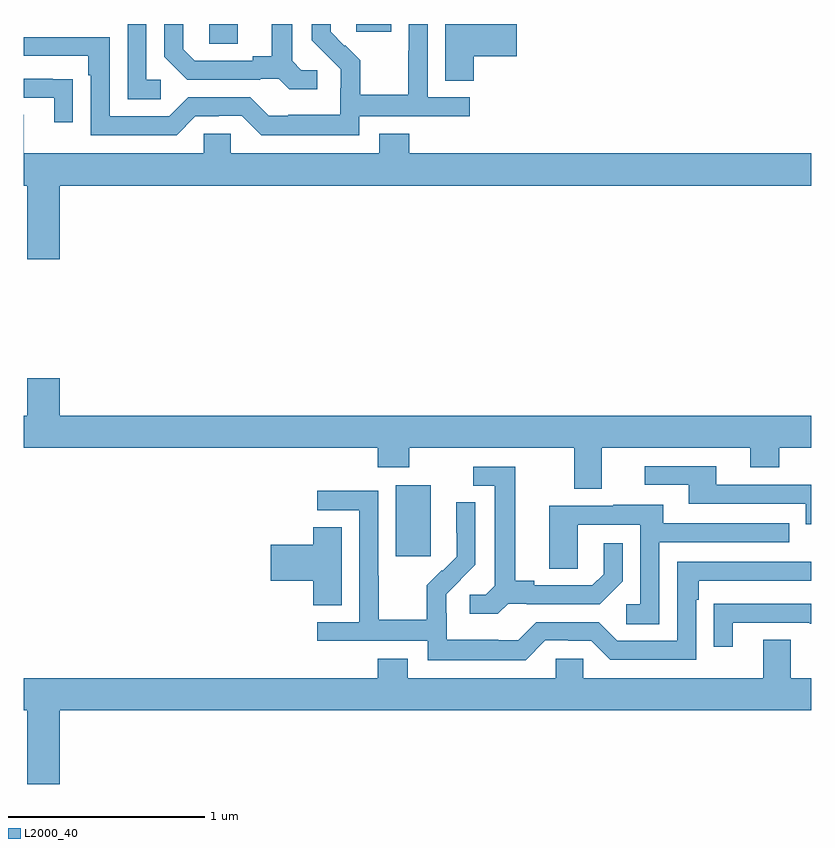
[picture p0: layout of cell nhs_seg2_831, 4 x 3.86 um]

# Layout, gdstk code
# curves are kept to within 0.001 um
import gdstk
lib = gdstk.Library(unit=1e-6, precision=1e-09)
def R(c, l, rs):  # rectangles x0, y0, x1, y1
    for r in rs: c.add(gdstk.rectangle(r[:2], r[2:], *l))
def P(c, l, *ps):  # polygons
    for p in ps: c.add(gdstk.Polygon(p, *l))
L2000_40 = (2000, 40)

nhs_seg2_831 = lib.new_cell('nhs_seg2_831')
R(nhs_seg2_831, L2000_40, [(154.889,635.097,155.068,635.458), (153.942,637.699,154.087,637.8), (154.688,637.761,154.867,637.8)])
P(nhs_seg2_831, L2000_40, [(154.704,637.332),(155.266,637.332),(155.266,637.428),(155.052,637.428),(155.052,637.8),(154.956,637.8),(154.956,637.664),(154.954,637.664),(154.954,637.441),(154.709,637.441),(154.709,637.615),(154.632,637.692),(154.629,637.689),(154.559,637.76),(154.559,637.8),(154.464,637.8),(154.464,637.718),(154.61,637.57),(154.61,637.473),(154.608,637.473),(154.608,637.339),(154.345,637.339),(154.345,637.335),(154.245,637.335),(154.152,637.428),(153.837,637.428),(153.741,637.332),(153.438,637.332),(153.438,637.734),(153,637.734),(153,637.638),(153.329,637.638),(153.329,637.541),(153.342,637.541),(153.342,637.236),(153.777,637.236),(153.873,637.332),(153.992,637.332),(153.992,637.335),(154.107,637.335),(154.207,637.235),(154.704,637.235)],
  [(154.492,637.566),(154.41,637.566),(154.363,637.613),(154.363,637.8),(154.259,637.8),(154.259,637.637),(154.163,637.637),(154.163,637.614),(153.868,637.614),(153.811,637.671),(153.811,637.8),(153.714,637.8),(153.714,637.634),(153.83,637.518),(154.202,637.518),(154.202,637.521),(154.296,637.521),(154.348,637.469),(154.492,637.469)],
  [(153.697,637.518),(153.624,637.518),(153.624,637.8),(153.528,637.8),(153.528,637.417),(153.697,637.417)],
  [(155.285,637.637),(155.503,637.637),(155.503,637.8),(155.141,637.8),(155.141,637.513),(155.285,637.513)],
  [(153.251,637.52),(153.149,637.52),(153.149,637.521),(153,637.521),(153,637.425),(153.155,637.425),(153.155,637.302),(153.251,637.302)],
  [(153.184,636.98),(157,636.98),(157,637.144),(154.958,637.144),(154.958,637.243),(154.805,637.243),(154.805,637.144),(154.053,637.144),(154.053,637.242),(153.915,637.242),(153.915,637.144),(153.001,637.144),(153.001,637.339),(153,637.339),(153,636.98),(153.02,636.98),(153.02,636.606),(153.184,636.606)],
  [(155.935,635.648),(156.689,635.648),(156.689,635.549),(156.837,635.549),(156.837,635.648),(157,635.648),(157,635.812),(153.184,635.812),(153.184,636.001),(153.02,636.001),(153.02,635.812),(153,635.812),(153,635.648),(154.799,635.648),(154.799,635.549),(154.959,635.549),(154.959,635.648),(155.795,635.648),(155.795,635.44),(155.935,635.44)],
  [(157,635.46),(156.517,635.46),(156.517,635.556),(156.153,635.556),(156.153,635.46),(156.377,635.46),(156.377,635.364),(156.972,635.364),(156.972,635.261),(157,635.261)],
  [(155.46,634.857),(155.554,634.857),(155.554,634.854),(155.926,634.854),(156.042,634.97),(156.042,635.164),(155.945,635.164),(155.945,635.007),(155.888,634.95),(155.593,634.95),(155.593,634.973),(155.497,634.973),(155.497,635.553),(155.283,635.553),(155.283,635.457),(155.393,635.457),(155.393,634.949),(155.346,634.902),(155.265,634.902),(155.265,634.805),(155.408,634.805)],
  [(155.649,634.671),(155.765,634.671),(155.765,634.668),(155.883,634.668),(155.979,634.572),(156.414,634.572),(156.414,634.877),(156.427,634.877),(156.427,634.974),(157,634.974),(157,635.07),(156.318,635.07),(156.318,634.668),(156.015,634.668),(155.919,634.764),(155.604,634.764),(155.511,634.671),(155.411,634.671),(155.411,634.675),(155.148,634.675),(155.148,634.809),(155.146,634.809),(155.146,634.906),(155.292,635.054),(155.292,635.372),(155.196,635.372),(155.196,635.218),(155.198,635.218),(155.198,635.096),(155.127,635.025),(155.124,635.028),(155.047,634.951),(155.047,634.777),(154.803,634.777),(154.803,635),(154.8,635),(154.8,635.43),(154.491,635.43),(154.491,635.331),(154.704,635.331),(154.704,634.764),(154.491,634.764),(154.491,634.668),(155.052,634.668),(155.052,634.571),(155.549,634.571)],
  [(156.228,635.169),(156.887,635.169),(156.887,635.265),(156.247,635.265),(156.247,635.359),(155.993,635.359),(155.993,635.355),(155.669,635.355),(155.669,635.035),(155.814,635.035),(155.814,635.259),(156.132,635.259),(156.132,634.854),(156.06,634.854),(156.06,634.753),(156.228,634.753)],
  [(154.615,635.246),(154.472,635.246),(154.472,635.156),(154.254,635.156),(154.254,634.973),(154.472,634.973),(154.472,634.849),(154.615,634.849)],
  [(156.601,634.761),(156.991,634.761),(156.991,634.756),(157,634.756),(157,634.857),(156.607,634.857),(156.607,634.856),(156.505,634.856),(156.505,634.638),(156.601,634.638)],
  [(153.184,634.316),(157,634.316),(157,634.48),(156.895,634.48),(156.895,634.675),(156.755,634.675),(156.755,634.48),(155.841,634.48),(155.841,634.578),(155.703,634.578),(155.703,634.48),(154.951,634.48),(154.951,634.579),(154.799,634.579),(154.799,634.48),(153,634.48),(153,634.316),(153.02,634.316),(153.02,633.942),(153.184,633.942)])

lib.write_gds('nhs_seg2_831.gds')
